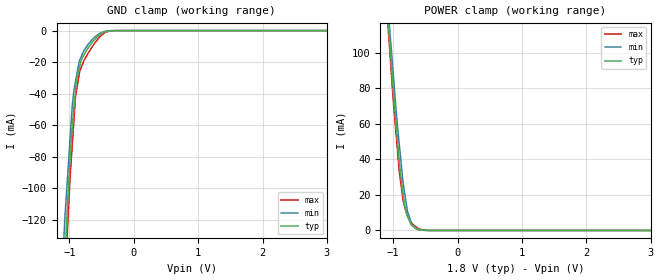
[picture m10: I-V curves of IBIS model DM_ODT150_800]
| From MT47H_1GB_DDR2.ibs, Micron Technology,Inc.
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|MODEL DM_ODT150_800 (DM Input model with 150-ohm ODT Submodel, 667/800)
[Model]   DM_ODT150_800
Model_type   Input
Vinl = 700.000mV
Vinh = 1.10V
|   typ   min   max
C_comp   2.776pF   2.652pF   2.950pF
| Note: C_comp decreases when the ODT circuit is enabled.
[Model Spec]
| Input threshold voltage corners
Vinl   0.70V   0.650V   0.750V
Vinh   1.10V   1.05V   1.150V
| [Receiver Thresholds]
[Voltage Range]   1.800V   1.700V   1.900V
[Pullup Reference]   1.800V   1.700V   1.900V
| Junction Temperature (Ambient temp is 25C typ, 85C min, 0C max)
[Temperature Range]   40.0   100.0   0.0
[Add Submodel]
| Submodel Name   Mode
150ohm_ODT_800   Non-Driving
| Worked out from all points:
|   GND clamp passes 1 mA (typ) near -0.47 V on its own axis
|   POWER clamp passes 1 mA (typ) near -0.64 V on its own axis
[GND Clamp]
|   Voltage   I(typ)   I(min)   I(max)
-1.8V     -885.8mA   -819.1mA   -938.5mA
-1.12V    -188.2mA   -159.6mA   -210mA
-1.07V    -145.5mA   -118.5mA   -164mA
-1.02V    -102.7mA   -87.53mA   -118mA
-955mV    -60.48mA   -47.58mA   -72.46mA
-905mV    -37.56mA   -32.23mA   -42.09mA
-890mV    -31.76mA   -28.89mA   -38.27mA
-840mV    -22.52mA   -18.73mA   -25.82mA
-780mV    -15.87mA   -13.11mA   -19.6mA
-520mV    -2.278mA   -1.509mA   -3.635mA
-255mV    -5.692uA   -11.73uA   -4.466uA
3.6V      0A         0A         0A
[POWER Clamp]
|   Voltage   I(typ)   I(min)   I(max)
-1.8V     517.7mA    504.2mA    528.2mA
-1.075V   117.8mA    123.6mA    112.9mA
-1.07V    115.2mA    121.1mA    110.2mA
-1.02V    89.9mA     98.08mA    84.09mA
-955mV    60.02mA    68.19mA    54.51mA
-905mV    39.34mA    48.51mA    33.18mA
-845mV    20.58mA    26.85mA    16.88mA
-805mV    11.14mA    17.26mA    11.43mA
-775mV    7.973mA    10.43mA    7.86mA
-710mV    2.815mA    3.328mA    4.203mA
-635mV    750.9uA    807.6uA    1.771mA
3.6V      0A         0A         0A
